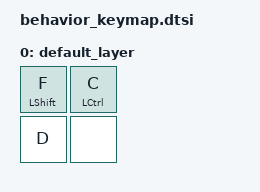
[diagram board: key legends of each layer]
#include <dt-bindings/zmk/keys.h>
#include <behaviors.dtsi>
#include <dt-bindings/zmk/kscan_mock.h>

/ {
    behaviors {
        ht_bal: behavior_balanced {
            compatible = "zmk,behavior-hold-tap";
            label = "MOD_TAP";
            #binding-cells = <2>;
            flavor = "balanced";
            tapping-term-ms = <300>;
            quick-tap-ms = <300>;
            require-prior-idle-ms = <100>;
            bindings = <&kp>, <&kp>;
        };
    };

    keymap {
        compatible = "zmk,keymap";
        label ="Default keymap";

        default_layer {
            bindings = <
                &ht_bal LEFT_SHIFT F &ht_bal LEFT_CONTROL C
                &kp D &none>;
        };
    };
};
